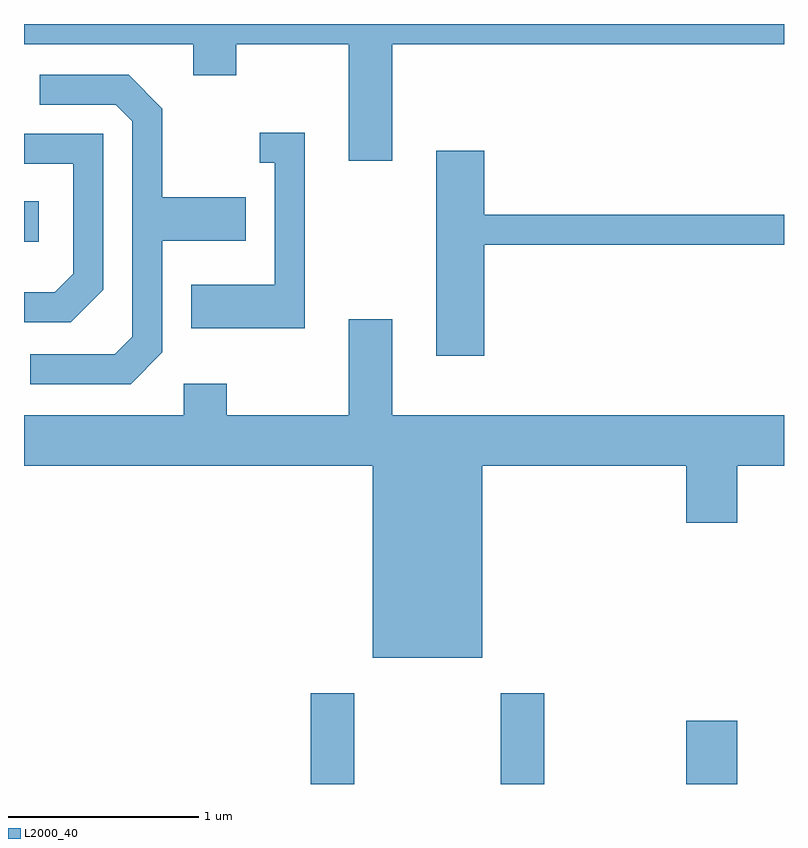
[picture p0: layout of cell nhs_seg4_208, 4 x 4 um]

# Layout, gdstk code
import gdstk
lib = gdstk.Library(unit=1e-6, precision=1e-09)
def R(c, l, rs):  # rectangles x0, y0, x1, y1
    for r in rs: c.add(gdstk.rectangle(r[:2], r[2:], *l))
def P(c, l, *ps):  # polygons
    for p in ps: c.add(gdstk.Polygon(p, *l))
L2000_40 = (2000, 40)

nhs_seg4_208 = lib.new_cell('nhs_seg4_208')
R(nhs_seg4_208, L2000_40, [(193.121,1261.982,193.349,1262.459), (194.121,1261.982,194.349,1262.459), (195.096,1261.982,195.364,1262.314), (191.611,1264.836,191.689,1265.049)])
P(nhs_seg4_208, L2000_40, [(193.549,1265.876),(195.611,1265.876),(195.611,1265.982),(191.611,1265.982),(191.611,1265.876),(192.501,1265.876),(192.501,1265.711),(192.729,1265.711),(192.729,1265.876),(193.321,1265.876),(193.321,1265.261),(193.549,1265.261)],
  [(192.339,1264.254),(192.339,1264.841),(192.779,1264.841),(192.779,1265.069),(192.339,1265.069),(192.339,1265.537),(192.162,1265.714),(191.693,1265.714),(191.693,1265.556),(192.094,1265.556),(192.181,1265.469),(192.181,1264.337),(192.089,1264.244),(191.643,1264.244),(191.643,1264.086),(192.172,1264.086)],
  [(193.089,1265.409),(192.853,1265.409),(192.853,1265.251),(192.931,1265.251),(192.931,1264.609),(192.491,1264.609),(192.491,1264.381),(193.089,1264.381)],
  [(192.029,1264.584),(192.029,1265.404),(191.611,1265.404),(191.611,1265.246),(191.871,1265.246),(191.871,1264.667),(191.774,1264.569),(191.611,1264.569),(191.611,1264.411),(191.857,1264.411)],
  [(194.034,1264.821),(195.611,1264.821),(195.611,1264.979),(194.034,1264.979),(194.034,1265.314),(193.781,1265.314),(193.781,1264.236),(194.034,1264.236)],
  [(194.024,1263.656),(195.096,1263.656),(195.096,1263.356),(195.364,1263.356),(195.364,1263.656),(195.611,1263.656),(195.611,1263.924),(193.549,1263.924),(193.549,1264.429),(193.321,1264.429),(193.321,1263.924),(192.679,1263.924),(192.679,1264.089),(192.451,1264.089),(192.451,1263.924),(191.611,1263.924),(191.611,1263.656),(193.446,1263.656),(193.446,1262.646),(194.024,1262.646)])

lib.write_gds('nhs_seg4_208.gds')
